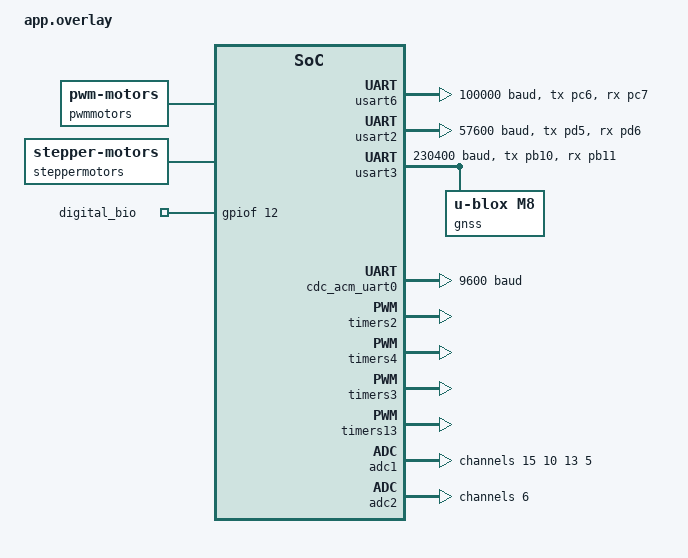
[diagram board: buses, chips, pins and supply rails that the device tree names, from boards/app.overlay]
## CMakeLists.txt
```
cmake_minimum_required(VERSION 3.20)
set(DTC_OVERLAY_FILE "boards/app.overlay")
set(CMAKE_EXPORT_COMPILE_COMMANDS ON)
find_package(Zephyr REQUIRED HINTS $ENV{ZEPHYR_BASE})
project(Tarzan LANGUAGES C)

target_include_directories(app PUBLIC ${CMAKE_CURRENT_SOURCE_DIR}/lib)
target_sources(app PRIVATE src/main.c)

set(CMAKE_CXX_FLAGS "${CMAKE_CXX_FLAGS} -Wpedantic -Wall -Wextra")
execute_process(
    COMMAND git describe --always --broken --dirty --tags
    OUTPUT_VARIABLE TARZAN_GIT_VERSION
    OUTPUT_STRIP_TRAILING_WHITESPACE
)
add_definitions(-DTARZAN_GIT_VERSION=\"${TARZAN_GIT_VERSION}\")
```

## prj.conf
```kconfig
# peripherals 
CONFIG_GPIO=y
CONFIG_PWM=y
CONFIG_I2C=y
CONFIG_STEPPER=y

# bio sensors (5x analog + dht11 digital)
CONFIG_ADC=y
CONFIG_ADC_STM32=y

# sensors
CONFIG_SENSOR=n
CONFIG_MPU6050=n           
CONFIG_MPU6050_TRIGGER_NONE=n
CONFIG_BMM150=n
CONFIG_BMM150_TRIGGER_GLOBAL_THREAD=n
CONFIG_BMM150_TRIGGER_NONE=n
CONFIG_LSM9DS1=n            
CONFIG_LSM9DS1_MAG=n

# gnss
CONFIG_GNSS=y
CONFIG_GNSS_SATELLITES=y
CONFIG_GNSS_DUMP_TO_LOG=y
CONFIG_GNSS_DUMP_TO_LOG_BUF_SIZE=1024
CONFIG_GNSS_LOG_LEVEL_DBG=y
CONFIG_MODEM_MODULES_LOG_LEVEL_DBG=y

# uart
CONFIG_SERIAL=y
CONFIG_UART_CONSOLE=y
CONFIG_UART_LINE_CTRL=y
CONFIG_LOG_BACKEND_UART=y
CONFIG_UART_INTERRUPT_DRIVEN=y

# cdc acm uart
CONFIG_USB_CDC_ACM=y
CONFIG_USB_DEVICE_STACK=y
CONFIG_USB_DEVICE_PRODUCT="Team RUDRA Tarzan"
CONFIG_USB_DEVICE_VID=0x2FE3
CONFIG_USB_DEVICE_PID=0xFFFF
CONFIG_USB_DEVICE_INITIALIZE_AT_BOOT=n

# zephyr shell uart
CONFIG_SHELL=y
CONFIG_I2C_SHELL=n
CONFIG_SENSOR_SHELL=n
CONFIG_I2C_DUMP_MESSAGES=n
CONFIG_SENSOR_INFO=n

# printk and logging
CONFIG_CBPRINTF_FP_SUPPORT=y
CONFIG_LOG=y
CONFIG_CONSOLE=y
CONFIG_PRINTK=n
CONFIG_TARZAN_LOG_LEVEL=3

# libraries
CONFIG_Tarzan=y
CONFIG_CRC=y

# sys
CONFIG_REBOOT=y
```

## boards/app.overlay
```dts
/{
	pwmmotors {
		compatible = "pwm-motors";
		sabertooth1_1: pwm_1 {
			pwms  = <&pwm2 1 PWM_MSEC(20) (PWM_POLARITY_NORMAL)>;
			min-pulse = <PWM_USEC(1100)>;
			max-pulse = <PWM_USEC(1900)>;
			channel = <0>;
		};
		sabertooth1_2: pwm_2 {
			pwms  = <&pwm2 2 PWM_MSEC(20) (PWM_POLARITY_NORMAL)>;
			min-pulse = <PWM_USEC(1100)>;
			max-pulse = <PWM_USEC(1900)>;
			channel = <1>; 
		};
		cytron1_1: pwm_3 {
			pwms  = <&pwm2 3 PWM_MSEC(20) (PWM_POLARITY_NORMAL)>;
			min-pulse = <PWM_USEC(1100)>;
			max-pulse = <PWM_USEC(1900)>;
			channel = <11>; 
		};
		cytron1_2: pwm_4 {
			pwms  = <&pwm2 4 PWM_MSEC(20) (PWM_POLARITY_NORMAL)>;
			min-pulse = <PWM_USEC(1100)>;
			max-pulse = <PWM_USEC(1900)>;
			channel = <12>; 
		};
		cytron2_1: pwm_5 {
			pwms  = <&pwm4 1 PWM_MSEC(20) (PWM_POLARITY_NORMAL)>;
			min-pulse = <PWM_USEC(1100)>;
			max-pulse = <PWM_USEC(1900)>;
			channel = <6>; 
		};
		cytron2_2: pwm_6 {
			pwms  = <&pwm4 2 PWM_MSEC(20) (PWM_POLARITY_NORMAL)>;
			min-pulse = <PWM_USEC(1100)>;
			max-pulse = <PWM_USEC(1900)>;
			channel = <10>; 
		};
		servo_1: pwm_7 {
			pwms  = <&pwm4 3 PWM_MSEC(20) (PWM_POLARITY_NORMAL)>;
			min-pulse = <PWM_USEC(500)>;
			max-pulse = <PWM_USEC(2500)>;
			channel = <8>; 
		};
		servo_2: pwm_8 {
			pwms  = <&pwm3 1 PWM_MSEC(20) (PWM_POLARITY_NORMAL)>;
			min-pulse = <PWM_USEC(500)>;
			max-pulse = <PWM_USEC(2500)>;
			channel = <9>; 
		};
		servo_3: pwm_9 {
			pwms  = <&pwm3 2 PWM_MSEC(20) (PWM_POLARITY_NORMAL)>;
			min-pulse = <PWM_USEC(500)>;
			max-pulse = <PWM_USEC(2500)>;
		};
		servo_4: pwm_10 {
			pwms  = <&pwm13 1 PWM_MSEC(20) (PWM_POLARITY_NORMAL)>;
			min-pulse = <PWM_USEC(500)>;
			max-pulse = <PWM_USEC(2500)>;
		};
	};

	steppermotors { 
		compatible = "stepper-motors"; 
		dm5422_tt: dm5422_tt { 
			label = "Turn Table"; 
			dir-gpios = <&gpioe 13 GPIO_ACTIVE_LOW>; 
			step-gpios = <&gpiof 11 GPIO_ACTIVE_LOW>;
			channel = <7>; 
		};
		yako: yako {
			label = "First Link"; 
			dir-gpios = <&gpiob 7 GPIO_ACTIVE_LOW>;   
			step-gpios = <&gpioc 0 GPIO_ACTIVE_LOW>;
			channel = <3>; 
		};
		rhino: rhino { 
			label = "Second Link";
			dir-gpios = <&gpiog 14 GPIO_ACTIVE_HIGH>; 
			step-gpios = <&gpiob 1 GPIO_ACTIVE_LOW>; 
			channel = <2>; 
		};
		dm5422_pr1: dm5422_pr1 { 
			label = "Pitch Roll 1";
			dir-gpios = <&gpioa 8 GPIO_ACTIVE_LOW>;
			step-gpios = <&gpiog 12 GPIO_ACTIVE_LOW>;
			channel = <4>; 
		};
		dm5422_pr2: dm5422_pr2 { 
			label = "Pitch Roll 2";
			dir-gpios = <&gpiog 9 GPIO_ACTIVE_LOW>;
			step-gpios = <&gpiod 15 GPIO_ACTIVE_LOW>;
			channel = <5>; 
		};
	};

	aliases {
			sbc-uart = &cdc_acm_uart0; 
			telemetry-uart = &usart2;
			sbus-uart = &usart6;
     			gps-uart = &gnss;
			sensors14-channel = &adc1;
			sensors5-channel = &adc2;
			bio-sensor1 = &ad12_15;
			bio-sensor2 = &ad123_10;
			bio-sensor3 = &ad12_10;
			bio-sensor4 = &ad12_5;
			bio-sensor5 = &adc3_6;
			dth11-sensor = &digital_bio;
	};

	chosen {
		zephyr,console = &usart2;
		zephyr,shell-uart = &usart2;
	};

	digitals {
		compatible = "gpio-keys";
		digital_bio: digital_sensor {
			gpios = <&gpiof 12 GPIO_ACTIVE_HIGH>;
		};
	};
};

&usart6 {
	pinctrl-0 = <&usart6_tx_pc6 &usart6_rx_pc7>;
	pinctrl-names= "default";
	status = "okay";
	current-speed = <100000>;
};

&usart2 {
        pinctrl-0 = <&usart2_tx_pd5 &usart2_rx_pd6>;
        pinctrl-names= "default";
        status = "okay";
        current-speed = <57600>;
};

&usart3{
	pinctrl-0 = <&usart3_tx_pb10 &usart3_rx_pb11>;
	pinctrl-names = "default";
	status = "okay";
	current-speed = <230400>;
	gnss: u_blox_m8n {
		status = "okay";
		compatible = "u-blox,m8";
		initial-baudrate = <230400>;
	};
};

&zephyr_udc0 {
	cdc_acm_uart0: cdc_acm_uart0 {
		compatible = "zephyr,cdc-acm-uart";
		status = "okay";
		current-speed = <9600>;
	};
};

&timers2 {
	status = "okay";
	st,prescaler = <5599>;
	pwm2: pwm {
		status = "okay";
		pinctrl-0 = <&tim2_ch1_pa0 &tim2_ch2_pa1 &tim2_ch3_pa2 &tim2_ch4_pa3>;
		pinctrl-names = "default";
	};
};

&timers4 {
	status = "okay";
	st,prescaler = <5599>;
	pwm4: pwm {
		status = "okay";
		pinctrl-0 = <&tim4_ch1_pd12 &tim4_ch2_pd13 &tim4_ch3_pd14>;
		pinctrl-names = "default";
	};
};

&timers3 {
	status = "okay";
	st,prescaler = <5599>;

	pwm3: pwm {
		status = "okay";
		pinctrl-0 = <&tim3_ch1_pb4 &tim3_ch2_pb5>;
		pinctrl-names = "default";
	};
};

&timers13 {
	status = "okay";
	st,prescaler = <5599>;

	pwm13: pwm {
		status = "okay";
		pinctrl-0 = <&tim13_ch1_pa6>;
		pinctrl-names = "default";
	};
};

/* bio sensors: 4 channels on ADC1 (NO2, MQ2, MQ8, VOC) */
&adc1 {
	status = "okay";
	#address-cells = <1>;
	#size-cells = <0>;
	st,adc-clock-source = "SYNC";
	st,adc-prescaler = <4>;

	ad12_15: channel@f {
		reg = <15>;
		status = "okay";
		zephyr,gain = "ADC_GAIN_1";
		zephyr,reference = "ADC_REF_INTERNAL";
		zephyr,acquisition-time = <ADC_ACQ_TIME(ADC_ACQ_TIME_MICROSECONDS,50)>;
		zephyr,resolution = <12>;
		zephyr,vref-mv = <3300>;
	};

	ad123_10: channel@a {
		reg = <10>;
		status = "okay";
		zephyr,gain = "ADC_GAIN_1";
		zephyr,reference = "ADC_REF_INTERNAL";
		zephyr,acquisition-time = <ADC_ACQ_TIME(ADC_ACQ_TIME_MICROSECONDS,50)>;
		zephyr,resolution = <12>;
		zephyr,vref-mv = <3300>;
	};

	ad12_10: channel@d {
		reg = <13>;
		status = "okay";
		zephyr,gain = "ADC_GAIN_1";
		zephyr,reference = "ADC_REF_INTERNAL";
		zephyr,acquisition-time = <ADC_ACQ_TIME(ADC_ACQ_TIME_MICROSECONDS,50)>;
		zephyr,resolution = <12>;
		zephyr,vref-mv = <3300>;
	};

	ad12_5: channel@5 {
		reg = <5>;
		status = "okay";
		zephyr,gain = "ADC_GAIN_1";
		zephyr,reference = "ADC_REF_INTERNAL";
		zephyr,acquisition-time = <ADC_ACQ_TIME(ADC_ACQ_TIME_MICROSECONDS,50)>;
		zephyr,resolution = <12>;
		zephyr,vref-mv = <3300>;
	};
};

&adc2 {
	status = "okay";
	#address-cells = <1>;
	#size-cells = <0>;
	st,adc-clock-source = "SYNC";
	st,adc-prescaler = <4>;

	adc3_6: channel@6 {
		reg = <6>;
		status = "okay";
		zephyr,gain = "ADC_GAIN_1";
		zephyr,reference = "ADC_REF_INTERNAL";
		zephyr,acquisition-time = <ADC_ACQ_TIME(ADC_ACQ_TIME_MICROSECONDS,50)>;
		zephyr,resolution = <12>;
		zephyr,vref-mv = <3300>;
	};
};
```

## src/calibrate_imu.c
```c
#include <zephyr/device.h>
#include <zephyr/devicetree.h>
#include <zephyr/drivers/sensor.h>
#include <zephyr/drivers/uart.h>
#include <zephyr/kernel.h>
#include <zephyr/sys/printk.h>

const struct device *const lower = DEVICE_DT_GET(DT_ALIAS(imu_lower_joint));
const struct device *const upper = DEVICE_DT_GET(DT_ALIAS(imu_upper_joint));
const struct device *const base = DEVICE_DT_GET(DT_ALIAS(imu_turn_table));
const struct device *const end = DEVICE_DT_GET(DT_ALIAS(imu_pitch_roll));

#define M_PI 3.14159265358979323846

float accel_offset[3], gyro_offset[3];
float angle_pitch = 0.0, angle_roll = 0.0;
float k = 0.90; // k here is tau
float target_angle = -45;
uint64_t prev_time = 0;

float true_acc[3] = {0, 0, -9.8};
float true_gyro[3] = {0, 0, 0};

int calibration(const struct device *dev) {
  struct sensor_value accel[3];
  struct sensor_value gyro[3];

  for (int i = 0; i < 1000; i++) {

    int rc = sensor_sample_fetch(dev);

    if (rc == 0)
      rc = sensor_channel_get(dev, SENSOR_CHAN_ACCEL_XYZ, accel);

    if (rc == 0)
      rc = sensor_channel_get(dev, SENSOR_CHAN_GYRO_XYZ, gyro);

    for (int i = 0; i < 3; i++) {
      accel_offset[i] += (sensor_value_to_double(&accel[i]) - true_acc[i]);
      gyro_offset[i] += (sensor_value_to_double(&gyro[i]) - true_gyro[i]);
    }
    k_sleep(K_MSEC(1));
  }
  for (int i = 0; i < 3; i++) {
    accel_offset[i] = accel_offset[i] / 1000.0;
    gyro_offset[i] = gyro_offset[i] / 1000.0;
  }

  printk("Calibration done\n");
  printk("accel_offset: %f %f %f\n", accel_offset[0], accel_offset[1],
         accel_offset[2]);
  printk("gyroOffset: %f %f %f\n", gyro_offset[0], gyro_offset[1],
         gyro_offset[2]);

  return 0;
}


int main() {
  printk("This is tarzan version %s\nFile: %s\n", GIT_BRANCH_NAME, __FILE__);
  int err;
  if (!device_is_ready(lower)) {
    printk("Device %s is not ready\n", lower->name);
    return 0;
  }

  if (!device_is_ready(upper)) {
    printk("Device %s is not ready\n", upper->name);
    return 0;
  }
  if (!device_is_ready(base)) {
    printk("Device %s is not ready\n", base->name);
    return 0;
  }
  if (!device_is_ready(end)) {
    printk("Device %s is not ready\n", upper->name);
    return 0;
  }


  printk("Calibrating...\n");
  if (calibration(base)) {
    printk("Calibration failed for device %s\n", base->name);
  }
  if (calibration(lower)) {
    printk("Calibration failed for device %s\n", lower->name);
  }
  if (calibration(upper)) {
    printk("Calibration failed for device %s\n", upper->name);
  }
  if (calibration(end)) {
    printk("Calibration failed for device %s\n", end->name);
  }
}
```

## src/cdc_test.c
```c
#include <canscribe/lib/canscribe.h>
#include <stdint.h>
#include <zephyr/device.h>
#include <zephyr/devicetree.h>
#include <zephyr/drivers/uart.h>
#include <zephyr/kernel.h>
#include <zephyr/sys/printk.h>
#include <zephyr/sys/ring_buffer.h>
#include <zephyr/usb/usb_device.h>

const struct device *const dev = DEVICE_DT_GET(DT_ALIAS(latte_panda));
K_MSGQ_DEFINE(msgq, sizeof(uint8_t), 74, 1);
struct msg {
  double x;
  double y;
  double z;
  double a;
  double b;
  double c;
  double d;
  double e;
  double f;
} data = {1, 2, 3, 4, 5, 6, 7, 8, 9}, mssg;
int pos;

uint8_t rx_buf[sizeof(struct msg) + 2];
uint8_t tx_buf[sizeof(struct msg) + 2];
void serial_cb(const struct device *uart_dev, void *user_data) {
  ARG_UNUSED(user_data);
  uint8_t c;
  if (!uart_irq_update(uart_dev)) {
    return;
  }
  if (!uart_irq_rx_ready(uart_dev)) {
    return;
  }
  while (uart_fifo_read(uart_dev, &c, 1) == 1) {
    if (c == 0x00 && pos > 0) {
      rx_buf[pos] = 0;
      if (pos != (sizeof(struct msg) + 2 - 1)) {
        pos = 0;
        continue;
      }
      deserialize(rx_buf, (uint8_t *)&mssg, sizeof(mssg));
      printk("received\n");
      pos = 0;
    } else if (pos < sizeof(rx_buf)) {
      rx_buf[pos++] = c;
    }
    if (pos > sizeof(struct msg) + 2) {
      pos = 0;
      continue;
    }
  }
}
int main() {
  uint32_t dtr = 0;

  if (!device_is_ready(dev)) {
    printk("Uart device not ready");
  }
  int err = uart_irq_callback_user_data_set(dev, serial_cb, NULL);
  if (err < 0) {
    if (err == -ENOTSUP)
      printk("Interrupt-driver UART API support not enabled");
    else if (err == -ENOSYS)
      printk("UART device does not support interrupt-driven API");
    else
      printk("Error setting UART callback");
  }
  if (usb_enable(NULL)) {
    return 0;
  }
  while (!dtr) {
    uart_line_ctrl_get(dev, UART_LINE_CTRL_DTR, &dtr);
    printk("error\n");
    k_sleep(K_MSEC(100));
  }
  uart_irq_rx_enable(dev);
  while (true) {
    serialize(tx_buf, (uint8_t *)&data, sizeof(struct msg));
    tx_buf[sizeof(struct msg) + 1] = 0x00;
    for (int i = 0; i < sizeof(struct msg) + 2; i++) {
      uart_poll_out(dev, tx_buf[i]);
    }
  }
}
```

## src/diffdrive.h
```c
int diffdrive_update(struct DiffDrive *drive, struct DiffDriveTwist command,
		     int64_t time_taken_by_last_update_seconds)
{
	int ret = 0;

	// Timeout check
	if (k_uptime_delta(&drive->previous_update_timestamp) / 1000 >
	    drive->config.command_timeout_seconds) {
		command.linear_x = 0.0f;
		command.angular_z = 0.0f;
	}

	const float wheel_separation =
		drive->config.wheel_separation_multiplier * drive->config.wheel_separation;
	const float left_wheel_radius =
		drive->config.left_wheel_radius_multiplier * drive->config.wheel_radius;
	const float right_wheel_radius =
		drive->config.right_wheel_radius_multiplier * drive->config.wheel_radius;

	float linear_command = command.linear_x;
	float angular_command = command.angular_z;

	// === Smooth Turning Logic for Static Wheels ===
	const float MAX_TURN_SCALE = 0.5f;  // Scale down linear velocity during sharp turns
	const float ANGULAR_TURN_THRESHOLD = 1.0f; // radians per sec

	if (fabs(angular_command) > ANGULAR_TURN_THRESHOLD) {
		linear_command *= MAX_TURN_SCALE;  // Reduce forward/backward speed
	}

	// Compute individual wheel velocities
	const float velocity_left =
		(linear_command - angular_command * wheel_separation / 2.0f) / left_wheel_radius;
	const float velocity_right =
		(linear_command + angular_command * wheel_separation / 2.0f) / right_wheel_radius;

	const int wheel_count = drive->config.wheels_per_side * 2;
	float *velocity_buffer = (float *)malloc(sizeof(float) * wheel_count);
	if (!velocity_buffer) {
		return 1;
	}

	for (int i = 0; i < drive->config.wheels_per_side; i++) {
		velocity_buffer[i] = velocity_left;
		velocity_buffer[drive->config.wheels_per_side + i] = velocity_right;
	}

	if (drive->velocity_callback(velocity_buffer, wheel_count, drive->config.wheels_per_side)) {
		ret = 1;
	}

	free(velocity_buffer);
	return ret;
}
```

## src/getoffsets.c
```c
#include <zephyr/kernel.h>
#include <zephyr/device.h>
#include <zephyr/devicetree.h>
#include <zephyr/drivers/sensor.h>
#include <zephyr/sys/printk.h>
#include <zephyr/usb/usb_device.h>
#include <stdio.h>
#include <float.h> // Required for FLT_MAX / FLT_MIN

/* --- Calibration Settings --- */
#define CAL_SAMPLES 1000 // Number of samples to average
#define CAL_DELAY_MS 20  // 50 Hz

/* --- Device Setup --- */
static const struct device *const mag_dev = DEVICE_DT_GET(DT_ALIAS(magnetometer));
static const struct device *const imu_dev = DEVICE_DT_GET(DT_ALIAS(imu));
static const struct device *const latte_panda_uart =
    DEVICE_DT_GET(DT_ALIAS(latte_panda_uart));


int main(void)
{
    /* --- Device Setup --- */
    if (!device_is_ready(latte_panda_uart)) { printk("UART not ready\n"); }
    if (usb_enable(NULL)) { return 0; }
    if(!device_is_ready(imu_dev)) { printk("IMU not ready\n"); return 1; }
    if(!device_is_ready(mag_dev)) { printk("Mag not ready\n"); return 1; }

    /* --- Set ODR (Sampling Frequency) --- */
    struct sensor_value odr_attr;
    odr_attr.val1 = 50; /* 50 Hz */
    odr_attr.val2 = 0;
    sensor_attr_set(mag_dev, SENSOR_CHAN_MAGN_XYZ, SENSOR_ATTR_SAMPLING_FREQUENCY, &odr_attr);
    sensor_attr_set(imu_dev, SENSOR_CHAN_ACCEL_XYZ, SENSOR_ATTR_SAMPLING_FREQUENCY, &odr_attr);
    sensor_attr_set(imu_dev, SENSOR_CHAN_GYRO_XYZ, SENSOR_ATTR_SAMPLING_FREQUENCY, &odr_attr);


    /* * =========================================
     * == PART 1: GYRO + ACCEL BIAS CALIBRATION
     * =========================================
     */
    printk("\n--- Gyro & Accel Calibration ---\n");
    printk("Place device ON A PERFECTLY FLAT, LEVEL SURFACE.\n");
    printk("KEEP IT PERFECTLY STILL for %d samples...\n", CAL_SAMPLES);
    k_sleep(K_SECONDS(5)); // Give user time
    printk("Starting calibration...\n");

    double sum_gx = 0.0, sum_gy = 0.0, sum_gz = 0.0;
    double sum_ax = 0.0, sum_ay = 0.0, sum_az = 0.0;
    struct sensor_value gyro[3];
    struct sensor_value accel[3];

    for (int i = 0; i < CAL_SAMPLES; i++) {
        if (sensor_sample_fetch(imu_dev) < 0) {
            i--; // Retry
            continue;
        }
        sensor_channel_get(imu_dev, SENSOR_CHAN_GYRO_X, &gyro[0]);
        sensor_channel_get(imu_dev, SENSOR_CHAN_GYRO_Y, &gyro[1]);
        sensor_channel_get(imu_dev, SENSOR_CHAN_GYRO_Z, &gyro[2]);

        sensor_channel_get(imu_dev, SENSOR_CHAN_ACCEL_X, &accel[0]);
        sensor_channel_get(imu_dev, SENSOR_CHAN_ACCEL_Y, &accel[1]);
        sensor_channel_get(imu_dev, SENSOR_CHAN_ACCEL_Z, &accel[2]);

        sum_gx += sensor_value_to_double(&gyro[0]);
        sum_gy += sensor_value_to_double(&gyro[1]);
        sum_gz += sensor_value_to_double(&gyro[2]);

        sum_ax += sensor_value_to_double(&accel[0]);
        sum_ay += sensor_value_to_double(&accel[1]);
        sum_az += sensor_value_to_double(&accel[2]); // We average Z, but don't subtract it

        k_msleep(CAL_DELAY_MS);
    }

    float bias_gx = (float)(sum_gx / CAL_SAMPLES);
    float bias_gy = (float)(sum_gy / CAL_SAMPLES);
    float bias_gz = (float)(sum_gz / CAL_SAMPLES);
    
    // We only find the bias for X and Y, as Z should be ~1g (9.81)
    float bias_ax = (float)(sum_ax / CAL_SAMPLES); 
    float bias_ay = (float)(sum_ay / CAL_SAMPLES);
    // We assume the Z bias is the difference from 1G, but it's safer
    // to just correct X and Y, which are the ones causing Pitch/Roll error.

    printk("\n--- Gyro & Accel Calibration COMPLETE ---\n");
    printk("Copy these defines into your main.c:\n");
    printk("#define GYRO_BIAS_X (%.8ff)\n", bias_gx);
    printk("#define GYRO_BIAS_Y (%.8ff)\n", bias_gy);
    printk("#define GYRO_BIAS_Z (%.8ff)\n", bias_gz);
    printk("\n");
    printk("#define ACCEL_BIAS_X (%.8ff)\n", bias_ax);
    printk("#define ACCEL_BIAS_Y (%.8ff)\n", bias_ay);
    printk("#define ACCEL_BIAS_Z (0.0f) // Keep Z-bias 0 for now\n");
    printk("\n");


    /* * ==================================================
     * == PART 2: MAGNETOMETER HARD-IRON CALIBRATION
     * ==================================================
     */
    printk("--- Magnetometer Calibration ---\n");
    printk(">>> MOVE AWAY from laptops, monitors, and metal. <<<\n");
    printk("Start slowly rotating the device in all directions (figure-eight motion).\n");
    printk("Note the final values and reset the device.\n");
    k_sleep(K_SECONDS(5)); // Give user time to read

    float min_mx = FLT_MAX, max_mx = FLT_MIN;
    float min_my = FLT_MAX, max_my = FLT_MIN;
    float min_mz = FLT_MAX, max_mz = FLT_MIN;
    
    struct sensor_value mag[3];

    while (1) {
        if (sensor_sample_fetch(mag_dev) < 0) { continue; }
        sensor_channel_get(mag_dev, SENSOR_CHAN_MAGN_X, &mag[0]);
        sensor_channel_get(mag_dev, SENSOR_CHAN_MAGN_Y, &mag[1]);
        sensor_channel_get(mag_dev, SENSOR_CHAN_MAGN_Z, &mag[2]);

        float mx = (float)sensor_value_to_double(&mag[0]);
        float my = (float)sensor_value_to_double(&mag[1]);
        float mz = (float)sensor_value_to_double(&mag[2]);

        if (mx < min_mx) min_mx = mx; if (mx > max_mx) max_mx = mx;
        if (my < min_my) min_my = my; if (my > max_my) max_my = my;
        if (mz < min_mz) min_mz = mz; if (mz > max_mz) max_mz = mz;

        float offset_x = (max_mx + min_mx) / 2.0f;
        float offset_y = (max_my + min_my) / 2.0f;
        float offset_z = (max_mz + min_mz) / 2.0f;

        printk("\rOffsets: X=%.4f | Y=%.4f | Z=%.4f   ", offset_x, offset_y, offset_z);
        
        k_msleep(100); 
    }
 
  return 0; // Unreachable
}
```

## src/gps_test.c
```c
#include <kyvernitis/lib/kyvernitis.h>
#include <stdio.h>
#include <string.h>
#include <zephyr/device.h>
#include <zephyr/drivers/uart.h>
#include <zephyr/kernel.h>

static const struct device *const uart_dev =
    DEVICE_DT_GET(DT_ALIAS(mother_uart));
static const struct device *const uart_debug =
    DEVICE_DT_GET(DT_ALIAS(debug_uart));
static const struct device *const uart_gps = DEVICE_DT_GET(DT_ALIAS(gps_uart));

K_MSGQ_DEFINE(uart_msgq, sizeof(uint8_t), 100, 1);
K_MSGQ_DEFINE(uart_gps_msgq, sizeof(char) * 30, 1000, 1);
char gpsmessage;
void serial_cb(const struct device *dev, void *user_data) {
  char c;
  int buf_pos = 0;
  if (!uart_irq_update(uart_gps)) {
    return;
  }

  if (!uart_irq_rx_ready(uart_gps)) {
    return;
  }
  while (uart_fifo_read(uart_gps, &c, 1) == 1) {
    if (gpsmessage == 0xb5)
      k_msgq_get(&uart_gps_msgq, &gpsmessage, K_MSEC(4));
    if (gpsmessage == 0x62)
      for (int i = 0; i < 30; i++) {
        k_msgq_put(&uart_gps_msgq, &c, K_MSEC(4));
      }
    printk("%hhx ", c);
  }
}
int main() {
  int err;
  printk("I am alive");
  if (!device_is_ready(uart_gps)) {
    printk("UART device not ready");
  }
  err = uart_irq_callback_user_data_set(uart_gps, serial_cb, NULL);
  if (err < 0) {
    printk("Error setting irq on uart_dev\n");
  }
  uart_irq_rx_enable(uart_gps);

  char temp;
  while (true) {
    k_msgq_get(&uart_gps_msgq, &gpsmessage, K_MSEC(4));
    // printk("%x ", gpsmessage);
  }
}
```

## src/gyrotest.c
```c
/*
 * Copyright (c) 2024 Your Name
 * SPDX-License-Identifier: Apache-2.0
 */

#include <zephyr/kernel.h>
#include <zephyr/device.h>
#include <zephyr/drivers/sensor.h>
#include <zephyr/sys/printk.h>
#include <zephyr/usb/usb_device.h>
#include <zephyr/drivers/uart.h>
#include <stdio.h>

/*
 * Get the device handle from the device tree alias.
 * This ensures we are using the correct sensor.
 */
static const struct device *const imu_dev = DEVICE_DT_GET(DT_ALIAS(imu-lsmds));

/**
 * @brief Helper function to convert a sensor_value to a double.
 */
/*static inline double sensor_value_to_double(const struct sensor_value *val)
{
    return (double)val->val1 + (double)val->val2 / 1000000.0;
}*/
static const struct device *const latte_panda_uart =
    DEVICE_DT_GET(DT_ALIAS(latte_panda_uart));
void main(void)
{
    
/* latte panda uart ready check */
  if (!device_is_ready(latte_panda_uart)) {
    printk("LATTE PANDA UART device not ready");
  }

  /* enable usb for latte panda com */
  if (usb_enable(NULL)) {
    return 0;
  }
    /* Check if the device was found */
    if (imu_dev == NULL) {
        printk("Error: Could not find sensor device node.\n");
        return;
    }

    /* Check if the device is ready to use */
    if (!device_is_ready(imu_dev)) {
        printk("Error: Sensor device is not ready.\n");
        return;
    }

    printk("Found sensor: %s. Reading Accel/Gyro data...\n", imu_dev->name);

    /* Loop forever, reading and printing data */
    while (1) {
        struct sensor_value accel_x, accel_y, accel_z;
        struct sensor_value gyro_x, gyro_y, gyro_z;

        /*
         * Fetch a new sample from the sensor. This fetches data for ALL
         * available channels on the LSM9DS1 (accel, gyro, and mag).
         */
        if (sensor_sample_fetch(imu_dev) < 0) {
            printk("Failed to fetch sample from device.\n");
            return;
        }

        /* Get the accelerometer data */
        sensor_channel_get(imu_dev, SENSOR_CHAN_ACCEL_X, &accel_x);
        sensor_channel_get(imu_dev, SENSOR_CHAN_ACCEL_Y, &accel_y);
        sensor_channel_get(imu_dev, SENSOR_CHAN_ACCEL_Z, &accel_z);

        /* Get the gyroscope data */
        sensor_channel_get(imu_dev, SENSOR_CHAN_GYRO_X, &gyro_x);
        sensor_channel_get(imu_dev, SENSOR_CHAN_GYRO_Y, &gyro_y);
        sensor_channel_get(imu_dev, SENSOR_CHAN_GYRO_Z, &gyro_z);

        /* Print the accelerometer values in m/s^2 */
        printk("Accel (m/s^2): X=%.3f, Y=%.3f, Z=%.3f\n",
               sensor_value_to_double(&accel_x),
               sensor_value_to_double(&accel_y),
               sensor_value_to_double(&accel_z));

        /* Print the gyroscope values in rad/s */
        printk("Gyro (rad/s):  X=%.3f, Y=%.3f, Z=%.3f\n\n",
               sensor_value_to_double(&gyro_x),
               sensor_value_to_double(&gyro_y),
               sensor_value_to_double(&gyro_z));

        /* Wait for 1 second before the next reading */
        k_msleep(1000);
    }
}
```

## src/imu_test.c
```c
#include <Tarzan/lib/arm.h>
#include <Tarzan/lib/cobs.h>
#include <stdint.h>
#include <zephyr/device.h>
#include <zephyr/devicetree.h>
#include <zephyr/drivers/sensor.h>
#include <zephyr/drivers/uart.h>
#include <zephyr/kernel.h>
#include <zephyr/sys/printk.h>
#include <zephyr/usb/usb_device.h>

const struct device *const lower = DEVICE_DT_GET(DT_ALIAS(imu_lower_joint));
const struct device *const upper = DEVICE_DT_GET(DT_ALIAS(imu_upper_joint));
const struct device *const end = DEVICE_DT_GET(DT_ALIAS(imu_pitch_roll));
const struct device *const dev = DEVICE_DT_GET(DT_ALIAS(latte_panda_uart));

struct inverse_msg msg_rx;

int pos;
const int MAX_MSG_LEN = sizeof(struct inverse_msg) + 2;
uint8_t rx_buf[sizeof(struct inverse_msg) + 2];
struct k_work work;
K_MSGQ_DEFINE(msgq_rx, (sizeof(struct inverse_msg) + 2), 50, 1);

void serial_cb(const struct device *uart_dev, void *user_data) {
  ARG_UNUSED(user_data);
  uint8_t c;
  if (!uart_irq_update(uart_dev)) {
    return;
  }
  if (!uart_irq_rx_ready(uart_dev)) {
    return;
  }
  while (uart_fifo_read(uart_dev, &c, 1) == 1) {
    if (c == 0x00 && pos > 0) {
      rx_buf[pos] = 0;
      if (pos != (sizeof(struct inverse_msg) + 2 - 1)) {
        pos = 0;
        continue;
      }
      if (k_msgq_put(&msgq_rx, rx_buf, K_MSEC(4)) != 0) {
        printk("Error: put fail\n");
      } else {
        k_work_submit(&work);
      }
      pos = 0;
    } else if (pos < sizeof(rx_buf)) {
      rx_buf[pos++] = c;
    }
  }
}
void inverse_mssg_work_handler(struct k_work *work_ptr) {
  uint8_t buf[sizeof(struct inverse_msg) + 2];
  if (k_msgq_get(&msgq_rx, buf, K_MSEC(4)) != 0) {
    printk("error: get failed\n");
    return;
  }
  cobs_decode_result result =
      cobs_decode((void *)&msg_rx, sizeof(msg_rx), buf, MAX_MSG_LEN - 1);
  if (result.status != COBS_DECODE_OK) {
    printk(":o COBS Decode Failed %d !!!!\n", result.status);
    return;
  }
}
void send_imu_data(uint8_t buf[], struct inverse_msg *data) {
  cobs_encode_result result =
      cobs_encode(buf, MAX_MSG_LEN, (void *)data, sizeof(struct inverse_msg));
  if (result.status != COBS_ENCODE_OK) {
    printk(":o COBS Encode Failed!!!\n");
    return;
  }
  buf[MAX_MSG_LEN - 1] = 0x00;
  for (int i = 0; i < sizeof(struct inverse_msg) + 2; i++) {
    uart_poll_out(dev, buf[i]);
  }
}

int main() {
  uint32_t dtr = 0;

  struct joint lowerIMU = {{0, 0, 0}, {0, 0, 0}, 0, 0, 0, {0, 0, 0}};
  struct joint upperIMU = {{0, 0, 0}, {0, 0, 0}, 0, 0, 0, {0, 0, 0}};
  struct joint endIMU = {{0, 0, 0}, {0, 0, 0}, 0, 0, 0, {0, 0, 0}};

  k_work_init(&work, inverse_mssg_work_handler);

  uint8_t tx_buf[sizeof(struct inverse_msg) + 2];

  struct inverse_msg msg_tx;

  if (!device_is_ready(dev)) {
    printk("Uart device not ready");
  }
  int err = uart_irq_callback_user_data_set(dev, serial_cb, NULL);
  if (err < 0) {
    if (err == -ENOTSUP)
      printk("Interrupt-driver UART API support not enabled");
    else if (err == -ENOSYS)
      printk("UART device does not support interrupt-driven API");
    else
      printk("Error setting UART callback");
  }
  if (usb_enable(NULL)) {
    return 0;
  }
  /*Device checks*/
  if (!device_is_ready(lower)) {
    printk("Device %s is not ready\n", lower->name);
  }
  if (!device_is_ready(upper)) {
    printk("Device %s is not ready\n", upper->name);
  }
  if (!device_is_ready(end)) {
    printk("Device %s is not ready\n", upper->name);
  }

  /*Calibration */
  printk("Calibrating IMU %s\n", lower->name);
  if (calibration(lower, &lowerIMU)) {
    printk("Calibration failed for device %s\n", lower->name);
  }
  printk("Calibrating IMU %s\n", upper->name);
  if (calibration(upper, &upperIMU)) {
    printk("Calibration failed for device %s\n", upper->name);
  }
  printk("Calibrating IMU %s\n", end->name);
  if (calibration(end, &endIMU)) {
    printk("Calibration failed for device %s\n", end->name);
  }
  while (!dtr) {
    uart_line_ctrl_get(dev, UART_LINE_CTRL_DTR, &dtr);
    printk("waiting for uart line contorl\n");
    k_sleep(K_MSEC(100));
  }
  printk("Initialization completed successfully!\n");

  uart_irq_rx_enable(dev);

  while (true) {
    process_mpu6050(lower, &lowerIMU);
    process_mpu6050(upper, &upperIMU);
    // process_mpu6050(end, &endIMU);
    msg_tx.turn_table = 0;
    msg_tx.first_link = lowerIMU.pitch;
    msg_tx.second_link = upperIMU.pitch;
    msg_tx.pitch = 0; // endIMU.pitch;
    msg_tx.roll = 0;  // endIMU.roll;
    msg_tx.x = 0;
    msg_tx.y = 0;
    msg_tx.z = 0;
    // printk("%f %f\n", lowerIMU.pitch, upperIMU.pitch);
    send_imu_data(tx_buf, &msg_tx);
  }
}
```

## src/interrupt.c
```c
#include <zephyr/kernel.h>
#include <zephyr/device.h>
#include <zephyr/devicetree.h>
#include <zephyr/drivers/uart.h>
#include <zephyr/logging/log.h>
#include <zephyr/logging/log_ctrl.h>
#include <kyvernitis/lib/kyvernitis.h>

#include <Tarzan/lib/sbus.h>

LOG_MODULE_REGISTER(main, CONFIG_LOG_DEFAULT_LEVEL);

static const struct device *const uart_dev = DEVICE_DT_GET(DT_ALIAS(mother_uart)); // data from SBUS
static const struct device *const uart_debug = DEVICE_DT_GET(DT_ALIAS(debug_uart)); //debugger

// creating mssgq 
K_MSGQ_DEFINE(uart_msgq, 25*sizeof(uint8_t), 10, 1); 
uint16_t *ch;

void serial_cb(const struct device *dev, void *user_data) {
	
	ARG_UNUSED(user_data);
	uint8_t c,
		packet [25],
		start = 0x0F;
	
	if (!uart_irq_update(uart_dev)) 
		return;
	if (!uart_irq_rx_ready(uart_dev)) 
		return;

	while (uart_fifo_read(uart_dev, &c, 1) == 1) {
		if (c != start) continue; 
		packet[0] = c;
		if(uart_fifo_read(uart_dev, packet+1, 24) == 24) {
			k_msgq_put(&uart_msgq, packet, K_MSEC(10));
		}
	}	
}

int main() {
	int err;
	uint8_t packet[25]; // to store sbus packet
	// device ready chceks
	if (!device_is_ready(uart_dev)) {
		LOG_ERR("UART device not ready");
	}

	// Interrupt to get sbus data
	err = uart_irq_callback_user_data_set(uart_dev, serial_cb, NULL);
	
	if(err<0) {
		if (err == -ENOTSUP) 
			LOG_ERR("Interrupt-driven UART API support not enabled");
		 
		else if (err == -ENOSYS) 
			LOG_ERR("UART device does not support interrupt-driven API");
		
		else 
			LOG_ERR("Error setting UART callback: %d", err);
	}

	// enable uart device for communication
	uart_irq_rx_enable(uart_dev);
	
	LOG_INF("Initialization completed successfully!");
	
	while(true) {
		k_msgq_get(&uart_msgq, &packet, K_MSEC(20));
		ch = parse_buffer(packet);
		for(int i=0; i<16;i++) 
			printk("%d\t", ch[0]);
		printk("\n");
	}
}
```

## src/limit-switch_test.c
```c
#include <stdint.h>
#include <zephyr/device.h>
#include <zephyr/devicetree.h>
#include <zephyr/drivers/gpio.h>
#include <zephyr/drivers/sensor.h>
#include <zephyr/drivers/uart.h>
#include <zephyr/kernel.h>
#include <zephyr/logging/log.h>

#include <kyvernitis/lib/kyvernitis.h>

#include <Tarzan/lib/drive.h>
#include <Tarzan/lib/sbus.h>

LOG_MODULE_REGISTER(main, CONFIG_LOG_DEFAULT_LEVEL);

static const struct gpio_dt_spec gripper =
    GPIO_DT_SPEC_GET(DT_ALIAS(limit_switch), gpios);
/*int main() {

  //  for (int i = 0; i < 9; i++) {
  if (!gpio_is_ready_dt(&gripper)) {
    printk("gpio %d is not ready\n", 1);
    return 0;
  }
  //}
  // for (int i = 0; i < 9; i++) {
  if (gpio_pin_configure_dt(&gripper, GPIO_INPUT)) {
    printk("Error: gpio %d is not configured\n", 1);
    return 0;
  }
  //}
  printk("Initialization completed successfully!\n");

  while (true) {
    if (gpio_pin_get_dt(&gripper) == 0)
      printk("limit switch hit\n");
  }
}*/


int main(void)
{
	int err;
  printk("This is branch: %s\n",GIT_BRANCH_NAME);
	if (!gpio_is_ready_dt(&gripper)) {
		printf("The load switch pin GPIO port is not ready.\n");
		return 0;
	}
	err = gpio_pin_configure_dt(&gripper, GPIO_INPUT);
	if (err != 0) {
		printf("Configuring GPIO pin failed: %d\n", err);
		return 0;
	}
  printk("Initialization completed\n");
  return 0;

}
```

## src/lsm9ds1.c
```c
#include <zephyr/kernel.h>
#include <zephyr/device.h>
#include <zephyr/devicetree.h>
#include <zephyr/drivers/sensor.h>
#include <zephyr/sys/printk.h>
#include <zephyr/usb/usb_device.h>
#include <zephyr/drivers/uart.h>
#include <Tarzan/lib/arm.h>
#include "lsm9ds1.h"
#include "smc_test.h"
#include "madgwick.h"
#include <stdio.h>

#define DEG2RAD (0.017453292519943295f)
#define RAD2DEG (57.29577951308232f)

static const struct device *const mag_dev = DEVICE_DT_GET(DT_ALIAS(magnetometer));
static const struct device *const imu_dev = DEVICE_DT_GET(DT_ALIAS(imu));
static const struct device *const latte_panda_uart =
    DEVICE_DT_GET(DT_ALIAS(latte_panda_uart));

int main(void)
{
  struct joint mag;
  struct joint imu_data;
  /* latte panda uart ready check */
  if (!device_is_ready(latte_panda_uart)) {
    printk("LATTE PANDA UART device not ready");
  }

  /* enable usb for latte panda com */
  if (usb_enable(NULL)) {
    return 0;
  }

  if(!device_is_ready(imu_dev))
  {
    printk("Error in imu\n");
    return 1;
  }
  if(!device_is_ready(mag_dev))
  {
    printk("Error: Sensor device \"%s\" is not ready.\n", mag_dev->name);
		return 1;
  }

  printk("Found sensor: %s. Reading magnetometer data...\n",mag_dev->name);

 struct sensor_value odr_attr;

	odr_attr.val1 = 50; /* 50 Hz */
	odr_attr.val2 = 0;

	if (sensor_attr_set(mag_dev, SENSOR_CHAN_MAGN_XYZ,
			    SENSOR_ATTR_SAMPLING_FREQUENCY, &odr_attr) < 0) {
		printk("Cannot set sampling frequency for mag.\n");
		return 1;
	}
if (sensor_attr_set(imu_dev, SENSOR_CHAN_ACCEL_XYZ,
			    SENSOR_ATTR_SAMPLING_FREQUENCY, &odr_attr) < 0) {
		printk("Cannot set sampling frequency for accelerometer.\n");
		return 1;
	}
if (sensor_attr_set(imu_dev, SENSOR_CHAN_GYRO_XYZ,
			    SENSOR_ATTR_SAMPLING_FREQUENCY, &odr_attr) < 0) {
		printk("Cannot set sampling frequency for gyro.\n");
		return 1;
	}

	printk("Accelerometer sampling frequency set to 50 Hz.\n");

  //calibration
  if (calibrationlsm(imu_dev, &imu_data) != 0) {
        printk("Gyroscope calibration FAILED. Halting.\n");
        return 1; // Or handle this error as needed
  }
    if (calibrate_magnetometer(mag_dev, &imu_data, 20000) != 0) {
        printk("Magnetometer calibration FAILED. Halting.\n");
        return 1;
    }
    
    printk("All calibrations complete.\n");
 
    uint32_t last_time =k_uptime_get_32();
	while (1) {
    uint32_t now = k_uptime_get_32();
    float dt = (float)(now - last_time)/1000.0f; //calculating dt in seconds
    last_time =now;
    
    //skip loop if dt is too large
    if (dt <= 0.0f||dt > 0.1f) { 
        k_msleep(1);
        continue;
    }
		struct sensor_value mag[3];
		struct sensor_value accel[3];
		struct sensor_value gyro[3];

		/* Fetch a new sample from the sensor */
		if (sensor_sample_fetch(mag_dev) < 0) {
			printk("Failed to fetch sample from mag.\n");
			return 1;
		}
	  if (sensor_sample_fetch(imu_dev) < 0) {
			printk("Failed to fetch sample from IMU.\n");
			return 1;
		}


		/* Get Accelerometer Data */
		sensor_channel_get(mag_dev, SENSOR_CHAN_MAGN_X, &mag[0]);
		sensor_channel_get(mag_dev, SENSOR_CHAN_MAGN_Y, &mag[1]);
		sensor_channel_get(mag_dev, SENSOR_CHAN_MAGN_Z, &mag[2]);

		/* Get Gyroscope Data */
		sensor_channel_get(imu_dev, SENSOR_CHAN_GYRO_X, &gyro[0]);
		sensor_channel_get(imu_dev, SENSOR_CHAN_GYRO_Y, &gyro[1]);
		sensor_channel_get(imu_dev, SENSOR_CHAN_GYRO_Z, &gyro[2]);

    sensor_channel_get(imu_dev, SENSOR_CHAN_ACCEL_X, &accel[0]);
		sensor_channel_get(imu_dev, SENSOR_CHAN_ACCEL_Y, &accel[1]);
		sensor_channel_get(imu_dev, SENSOR_CHAN_ACCEL_Z, &accel[2]);


    printk("Mag [T]: X=%.1f, Y=%.1f, Z=%.1f\n",
		       sensor_value_to_double(&mag[0]),
		       sensor_value_to_double(&mag[1]),
		       sensor_value_to_double(&mag[2]));

		printk("Accel [m/s^2]: X=%.1f, Y=%.1f, Z=%.1f\n",
		       sensor_value_to_double(&accel[0]),
		       sensor_value_to_double(&accel[1]),
		       sensor_value_to_double(&accel[2]));

		printk("Gyro  [rad/s]: X=%.1f, Y=%.1f, Z=%.1f\n\n",
		       sensor_value_to_double(&gyro[0]),
		       sensor_value_to_double(&gyro[1]),
		       sensor_value_to_double(&gyro[2]));

		    //applying offset bias correction to prevent drift
    //change the orientation if needed after testing
        float ax = (float)sensor_value_to_double(&accel[0]);
        float ay = (float)sensor_value_to_double(&accel[1]);
        float az = (float)sensor_value_to_double(&accel[2])-9.80665;

        float gx = (float)sensor_value_to_double(&gyro[0])-imu_data.gyro_offset[0];
        float gy = (float)sensor_value_to_double(&gyro[1])-imu_data.gyro_offset[1];
        float gz = (float)sensor_value_to_double(&gyro[2])-imu_data.gyro_offset[2];

        float mx = (float)sensor_value_to_double(&mag[0])-imu_data.mag_offset[0];
        float my = (float)sensor_value_to_double(&mag[1])-imu_data.mag_offset[1];
        float mz = (float)sensor_value_to_double(&mag[2])-imu_data.mag_offset[2];

       printk("Before madgiwck filter: ax= %.1f, ay=%.1f, az=%.1f \n",ax,ay,az);
       printk("Before madgiwck filter: gx= %.1f, gy=%.1f:, gz=%.1f \n",gx,gy,gz);
       printk("Before madgiwck filter: mx= %.1f, my=%.1f, mz=%.1f \n",mx,my,mz);
       printk("\n");
    //9dof madgwick filter
    imu_filter(ax, ay, az, gx, gy, gz, mx, my, mz, dt);
       printk("AFTER madgiwck filter: ax= %.1f, ay=%.1f, az=%.1f \n",ax,ay,az);
       printk("AFTER madgiwck filter: gx= %.1f, gy=%.1f, gz=%.1f \n",gx,gy,gz);
       printk("AFTER madgiwck filter: mx= %.1f, my=%.1f, mz=%.1f \n",mx,my,mz);
       printk("\n");

      //converting quaternion to euler
      float roll, pitch, yaw;
      eulerAngles(q_est, &roll, &pitch, &yaw);

      printk("Yaw = %.2f°, Pitch = %.2f°, Roll = %.2f°\n", yaw, pitch, roll);
      // lqr_yaw_correction(yaw); //from smc_test.c

      k_msleep(20);  //~50hz loop rate
	  }  
  return 0;
}
```

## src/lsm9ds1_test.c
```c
#include <zephyr/kernel.h>
#include <zephyr/device.h>
#include <zephyr/devicetree.h>
#include <zephyr/drivers/sensor.h>
#include <zephyr/sys/printk.h>
#include <zephyr/usb/usb_device.h>
#include <zephyr/drivers/uart.h>
#include <Tarzan/lib/arm.h>
#include "lsm9ds1.h"
#include "smc_test.h"
#include "madgwick.h"

#include <stdio.h>

#define DEG2RAD (0.017453292519943295f)
#define RAD2DEG (57.29577951308232f)
#define MAG_OFFSET_X (0.0190f)
#define MAG_OFFSET_Y (0.0740f)
#define MAG_OFFSET_Z (0.3251f)


static const struct device *const mag_dev= DEVICE_DT_GET(DT_ALIAS(magnetometer));
static const struct device *const imu_dev= DEVICE_DT_GET(DT_ALIAS(imu));
static const struct device *const latte_panda_uart =
    DEVICE_DT_GET(DT_ALIAS(latte_panda_uart));

int main(void)
{
  struct joint mag;
  struct joint imu_data;
  /* latte panda uart ready check */
  if (!device_is_ready(latte_panda_uart)) {
    printk("LATTE PANDA UART device not ready");
  }

  /* enable usb for latte panda com */
  if (usb_enable(NULL)) {
    return 0;
  }

  if(!device_is_ready(imu_dev))
  {
    printk("Error in imu\n");
    return 1;
  }
  if(!device_is_ready(mag_dev))
  {
    printk("Error: Sensor device \"%s\" is not ready.\n",mag_dev->name);
        return 1;
  }

  printk("Found sensor: %s. Reading magnetometer data...\n",mag_dev->name);

 struct sensor_value odr_attr;

    odr_attr.val1 = 50; 
    odr_attr.val2 = 0;

    if (sensor_attr_set(mag_dev, SENSOR_CHAN_MAGN_XYZ,
                        SENSOR_ATTR_SAMPLING_FREQUENCY, &odr_attr) < 0) {
        printk("Cannot set sampling frequency for mag.\n");
        return 1;
    }
if (sensor_attr_set(imu_dev, SENSOR_CHAN_ACCEL_XYZ,
                        SENSOR_ATTR_SAMPLING_FREQUENCY, &odr_attr) < 0) {
        printk("Cannot set sampling frequency for accelerometer.\n");
        return 1;
    }
if (sensor_attr_set(imu_dev, SENSOR_CHAN_GYRO_XYZ,
                        SENSOR_ATTR_SAMPLING_FREQUENCY, &odr_attr) < 0) {
        printk("Cannot set sampling frequency for gyro.\n");
        return 1;
    }

    printk("Accelerometer sampling frequency set to 50 Hz.\n");

uint32_t last_time =k_uptime_get_32();
if (calibrationlsm(imu_dev, &imu_data) != 0) {
        printk("Gyroscope calibration FAILED. Halting.\n");
        return 1; // Or handle this error as needed
    }
while (1) {
    uint32_t now = k_uptime_get_32();
    float dt = (float)(now - last_time)/1000.0f; //calculating dt in seconds
    last_time =now;
    
    //skip loop if dt is too large
    if (dt <= 0.0f||dt > 0.1f) { 
        k_msleep(1);
        continue;
    }
    struct sensor_value mag[3];
    struct sensor_value accel[3];
    struct sensor_value gyro[3];

    if (sensor_sample_fetch(mag_dev) < 0 || sensor_sample_fetch(imu_dev) < 0) {
        printk("Failed to fetch IMU sample.\n");
        continue;
    }

    //getting sensor values
    sensor_channel_get(mag_dev, SENSOR_CHAN_MAGN_X, &mag[0]);
    sensor_channel_get(mag_dev, SENSOR_CHAN_MAGN_Y, &mag[1]);
    sensor_channel_get(mag_dev, SENSOR_CHAN_MAGN_Z, &mag[2]);

    sensor_channel_get(imu_dev, SENSOR_CHAN_GYRO_X, &gyro[0]);
    sensor_channel_get(imu_dev, SENSOR_CHAN_GYRO_Y, &gyro[1]);
    sensor_channel_get(imu_dev, SENSOR_CHAN_GYRO_Z, &gyro[2]);

    sensor_channel_get(imu_dev, SENSOR_CHAN_ACCEL_X, &accel[0]);
    sensor_channel_get(imu_dev, SENSOR_CHAN_ACCEL_Y, &accel[1]);
    sensor_channel_get(imu_dev, SENSOR_CHAN_ACCEL_Z, &accel[2]);

    printk("Accelerometer Values: %d, %d, %d \n",accel[0],accel[1],accel[2]);
    printk("Gyroscope Values: %d, %d, %d \n",gyro[0],gyro[1],gyro[2]);
    printk("Magnetometer Values: %d, %d, %d \n",mag[0],mag[1],mag[2]);
    printk("\n");

    //applying offset bias correction to prevent drift
    //change the orientation if needed after testing
        float ax = (float)sensor_value_to_double(&accel[0]);
        float ay = (float)sensor_value_to_double(&accel[1]);
        float az = (float)sensor_value_to_double(&accel[2]);

        // Replace the hard-coded GYRO_BIAS with the values from our struct
        float gx = (float)sensor_value_to_double(&gyro[0])-imu_data.gyro_offset[0];
        float gy = (float)sensor_value_to_double(&gyro[1])-imu_data.gyro_offset[1];
        float gz = (float)sensor_value_to_double(&gyro[2])-imu_data.gyro_offset[2];

        // You still need to calibrate the magnetometer!
        // The magnetometer calibration example I sent before would fill
        // imu_data.mag_offset[0..2]
        float mx = (float)sensor_value_to_double(&mag[0])-MAG_OFFSET_X;
        float my = (float)sensor_value_to_double(&mag[1])-MAG_OFFSET_Y;
        float mz = (float)sensor_value_to_double(&mag[2])-MAG_OFFSET_Z;

 printk("Before madgiwck filter: ax= %d, ay=%d, az=%d \n",ax,ay,az);
  printk("Before madgiwck filter: gx= %d, gy=%d, gz=%d \n",gx,gy,gz);
  printk("Before madgiwck filter: gx= %d, gy=%d, gz=%d \n",gx,gy,gz);
    
    printk("\n");
    //9dof madgwick filter
    imu_filter(ax, ay, az, gx, gy, gz, mx, my, mz, dt);

 printk("AFTER madgiwck filter: ax= %d, ay=%d, az=%d \n",ax,ay,az);
  printk("AFTER madgiwck filter: gx= %d, gy=%d, gz=%d \n",gx,gy,gz);
  printk("AFTER madgiwck filter: gx= %d, gy=%d, gz=%d \n",gx,gy,gz);

    //converting quaternion to euler
    float roll, pitch, yaw;
    eulerAngles(q_est, &roll, &pitch, &yaw);

    printk("Yaw = %.2f°, Pitch = %.2f°, Roll = %.2f°\n", yaw, pitch, roll);
   // lqr_yaw_correction(yaw); //from smc_test.c

    k_msleep(20);  //~50hz loop rate
}
 
  return 0;
}
```
